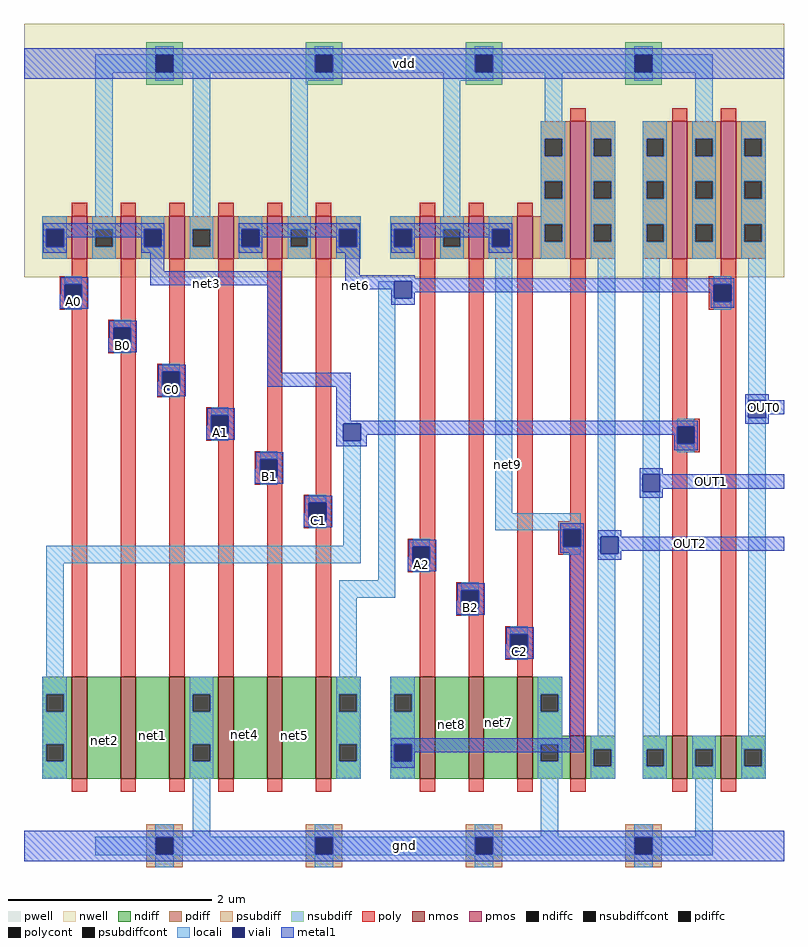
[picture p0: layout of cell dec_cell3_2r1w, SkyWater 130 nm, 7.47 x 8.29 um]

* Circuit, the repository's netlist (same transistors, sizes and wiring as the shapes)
* SPICE3 file created from dec_cell3_2r1w.ext - technology: sky130A


.subckt dec_cell3_2r1w A0 B0 C0 A1 B1 C1 A2 B2 C2 OUT0 OUT1 OUT2 vdd gnd
X0 net3 B0 vdd vdd sky130_fd_pr__pfet_01v8 ad=0 pd=0 as=0 ps=0 w=0.42 l=0.15
X1 OUT2 net9 vdd vdd sky130_fd_pr__pfet_01v8 ad=0 pd=0 as=0 ps=0 w=1.35 l=0.15
X2 gnd C0 net1 gnd sky130_fd_pr__nfet_01v8 ad=0 pd=0 as=0 ps=0 w=1.00 l=0.15
X3 net5 B1 net4 gnd sky130_fd_pr__nfet_01v8 ad=0 pd=0 as=0 ps=0 w=1.00 l=0.15
X4 OUT1 net6 vdd vdd sky130_fd_pr__pfet_01v8 ad=0 pd=0 as=0 ps=0 w=1.35 l=0.15
X5 net7 B2 net8 gnd sky130_fd_pr__nfet_01v8 ad=0 pd=0 as=0 ps=0 w=1.00 l=0.15
X6 vdd C0 net3 vdd sky130_fd_pr__pfet_01v8 ad=0 pd=0 as=0 ps=0 w=0.42 l=0.15
X7 vdd B1 net6 vdd sky130_fd_pr__pfet_01v8 ad=0 pd=0 as=0 ps=0 w=0.42 l=0.15
X8 net9 B2 vdd vdd sky130_fd_pr__pfet_01v8 ad=0 pd=0 as=0 ps=0 w=0.42 l=0.15
X9 net2 A0 net3 gnd sky130_fd_pr__nfet_01v8 ad=0 pd=0 as=0 ps=0 w=1.00 l=0.15
X10 net4 A1 gnd gnd sky130_fd_pr__nfet_01v8 ad=0 pd=0 as=0 ps=0 w=1.00 l=0.15
X11 net6 C1 net5 gnd sky130_fd_pr__nfet_01v8 ad=0 pd=0 as=0 ps=0 w=1.00 l=0.15
X12 gnd C2 net7 gnd sky130_fd_pr__nfet_01v8 ad=0 pd=0 as=0 ps=0 w=1.00 l=0.15
X13 net8 A2 net9 gnd sky130_fd_pr__nfet_01v8 ad=0 pd=0 as=0 ps=0 w=1.00 l=0.15
X14 gnd net3 OUT0 gnd sky130_fd_pr__nfet_01v8 ad=0 pd=0 as=0 ps=0 w=0.42 l=0.15
X15 vdd A0 net3 vdd sky130_fd_pr__pfet_01v8 ad=0 pd=0 as=0 ps=0 w=0.42 l=0.15
X16 net6 A1 vdd vdd sky130_fd_pr__pfet_01v8 ad=0 pd=0 as=0 ps=0 w=0.42 l=0.15
X17 net6 C1 vdd vdd sky130_fd_pr__pfet_01v8 ad=0 pd=0 as=0 ps=0 w=0.42 l=0.15
X18 vdd A2 net9 vdd sky130_fd_pr__pfet_01v8 ad=0 pd=0 as=0 ps=0 w=0.42 l=0.15
X19 vdd C2 net9 vdd sky130_fd_pr__pfet_01v8 ad=0 pd=0 as=0 ps=0 w=0.42 l=0.15
X20 vdd net3 OUT0 vdd sky130_fd_pr__pfet_01v8 ad=0 pd=0 as=0 ps=0 w=1.35 l=0.15
X21 net1 B0 net2 gnd sky130_fd_pr__nfet_01v8 ad=0 pd=0 as=0 ps=0 w=1.00 l=0.15
X22 OUT2 net9 gnd gnd sky130_fd_pr__nfet_01v8 ad=0 pd=0 as=0 ps=0 w=0.42 l=0.15
X23 OUT1 net6 gnd gnd sky130_fd_pr__nfet_01v8 ad=0 pd=0 as=0 ps=0 w=0.42 l=0.15
.ends

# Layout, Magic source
magic
tech sky130A
magscale 1 2
<< nwell >>
rect 0 1118 1494 1616
<< pwell >>
rect 240 -42 312 42
rect 554 -42 626 42
rect 868 -42 940 42
rect 1182 -42 1254 42
<< nmos >>
rect 94 132 124 332
rect 190 132 220 332
rect 286 132 316 332
rect 382 132 412 332
rect 478 132 508 332
rect 574 132 604 332
rect 778 132 808 332
rect 874 132 904 332
rect 970 132 1000 332
rect 1074 132 1104 216
rect 1274 132 1304 216
rect 1370 132 1400 216
<< pmos >>
rect 94 1154 124 1238
rect 190 1154 220 1238
rect 286 1154 316 1238
rect 382 1154 412 1238
rect 478 1154 508 1238
rect 574 1154 604 1238
rect 778 1154 808 1238
rect 874 1154 904 1238
rect 970 1154 1000 1238
rect 1074 1154 1104 1424
rect 1274 1154 1304 1424
rect 1370 1154 1400 1424
<< ndiff >>
rect 36 298 94 332
rect 36 264 44 298
rect 78 264 94 298
rect 36 200 94 264
rect 36 166 44 200
rect 78 166 94 200
rect 36 132 94 166
rect 124 132 190 332
rect 220 132 286 332
rect 316 298 382 332
rect 316 264 332 298
rect 366 264 382 298
rect 316 200 382 264
rect 316 166 332 200
rect 366 166 382 200
rect 316 132 382 166
rect 412 132 478 332
rect 508 132 574 332
rect 604 298 662 332
rect 604 264 620 298
rect 654 264 662 298
rect 604 200 662 264
rect 604 166 620 200
rect 654 166 662 200
rect 604 132 662 166
rect 720 298 778 332
rect 720 264 728 298
rect 762 264 778 298
rect 720 200 778 264
rect 720 166 728 200
rect 762 166 778 200
rect 720 132 778 166
rect 808 132 874 332
rect 904 132 970 332
rect 1000 298 1058 332
rect 1000 264 1016 298
rect 1050 264 1058 298
rect 1000 216 1058 264
rect 1000 200 1074 216
rect 1000 166 1016 200
rect 1050 166 1074 200
rect 1000 132 1074 166
rect 1104 190 1162 216
rect 1104 156 1120 190
rect 1154 156 1162 190
rect 1104 132 1162 156
rect 1216 190 1274 216
rect 1216 156 1224 190
rect 1258 156 1274 190
rect 1216 132 1274 156
rect 1304 190 1370 216
rect 1304 156 1320 190
rect 1354 156 1370 190
rect 1304 132 1370 156
rect 1400 190 1458 216
rect 1400 156 1416 190
rect 1450 156 1458 190
rect 1400 132 1458 156
<< pdiff >>
rect 1016 1390 1074 1424
rect 1016 1356 1024 1390
rect 1058 1356 1074 1390
rect 1016 1306 1074 1356
rect 1016 1272 1024 1306
rect 1058 1272 1074 1306
rect 1016 1238 1074 1272
rect 36 1212 94 1238
rect 36 1178 44 1212
rect 78 1178 94 1212
rect 36 1154 94 1178
rect 124 1212 190 1238
rect 124 1178 140 1212
rect 174 1178 190 1212
rect 124 1154 190 1178
rect 220 1212 286 1238
rect 220 1178 236 1212
rect 270 1178 286 1212
rect 220 1154 286 1178
rect 316 1212 382 1238
rect 316 1178 332 1212
rect 366 1178 382 1212
rect 316 1154 382 1178
rect 412 1212 478 1238
rect 412 1178 428 1212
rect 462 1178 478 1212
rect 412 1154 478 1178
rect 508 1212 574 1238
rect 508 1178 524 1212
rect 558 1178 574 1212
rect 508 1154 574 1178
rect 604 1212 662 1238
rect 604 1178 620 1212
rect 654 1178 662 1212
rect 604 1154 662 1178
rect 720 1212 778 1238
rect 720 1178 728 1212
rect 762 1178 778 1212
rect 720 1154 778 1178
rect 808 1212 874 1238
rect 808 1178 824 1212
rect 858 1178 874 1212
rect 808 1154 874 1178
rect 904 1212 970 1238
rect 904 1178 920 1212
rect 954 1178 970 1212
rect 904 1154 970 1178
rect 1000 1222 1074 1238
rect 1000 1188 1024 1222
rect 1058 1188 1074 1222
rect 1000 1154 1074 1188
rect 1104 1390 1162 1424
rect 1104 1356 1120 1390
rect 1154 1356 1162 1390
rect 1104 1306 1162 1356
rect 1104 1272 1120 1306
rect 1154 1272 1162 1306
rect 1104 1222 1162 1272
rect 1104 1188 1120 1222
rect 1154 1188 1162 1222
rect 1104 1154 1162 1188
rect 1216 1390 1274 1424
rect 1216 1356 1224 1390
rect 1258 1356 1274 1390
rect 1216 1306 1274 1356
rect 1216 1272 1224 1306
rect 1258 1272 1274 1306
rect 1216 1222 1274 1272
rect 1216 1188 1224 1222
rect 1258 1188 1274 1222
rect 1216 1154 1274 1188
rect 1304 1390 1370 1424
rect 1304 1356 1320 1390
rect 1354 1356 1370 1390
rect 1304 1306 1370 1356
rect 1304 1272 1320 1306
rect 1354 1272 1370 1306
rect 1304 1222 1370 1272
rect 1304 1188 1320 1222
rect 1354 1188 1370 1222
rect 1304 1154 1370 1188
rect 1400 1390 1458 1424
rect 1400 1356 1416 1390
rect 1450 1356 1458 1390
rect 1400 1306 1458 1356
rect 1400 1272 1416 1306
rect 1450 1272 1458 1306
rect 1400 1222 1458 1272
rect 1400 1188 1416 1222
rect 1450 1188 1458 1222
rect 1400 1154 1458 1188
<< ndiffc >>
rect 44 264 78 298
rect 44 166 78 200
rect 332 264 366 298
rect 332 166 366 200
rect 620 264 654 298
rect 620 166 654 200
rect 728 264 762 298
rect 728 166 762 200
rect 1016 264 1050 298
rect 1016 166 1050 200
rect 1120 156 1154 190
rect 1224 156 1258 190
rect 1320 156 1354 190
rect 1416 156 1450 190
<< pdiffc >>
rect 1024 1356 1058 1390
rect 1024 1272 1058 1306
rect 44 1178 78 1212
rect 140 1178 174 1212
rect 236 1178 270 1212
rect 332 1178 366 1212
rect 428 1178 462 1212
rect 524 1178 558 1212
rect 620 1178 654 1212
rect 728 1178 762 1212
rect 824 1178 858 1212
rect 920 1178 954 1212
rect 1024 1188 1058 1222
rect 1120 1356 1154 1390
rect 1120 1272 1154 1306
rect 1120 1188 1154 1222
rect 1224 1356 1258 1390
rect 1224 1272 1258 1306
rect 1224 1188 1258 1222
rect 1320 1356 1354 1390
rect 1320 1272 1354 1306
rect 1320 1188 1354 1222
rect 1416 1356 1450 1390
rect 1416 1272 1450 1306
rect 1416 1188 1450 1222
<< psubdiff >>
rect 240 17 312 42
rect 240 -17 259 17
rect 293 -17 312 17
rect 240 -42 312 -17
rect 554 17 626 42
rect 554 -17 573 17
rect 607 -17 626 17
rect 554 -42 626 -17
rect 868 17 940 42
rect 868 -17 887 17
rect 921 -17 940 17
rect 868 -42 940 -17
rect 1182 17 1254 42
rect 1182 -17 1201 17
rect 1235 -17 1254 17
rect 1182 -42 1254 -17
<< nsubdiff >>
rect 240 1555 312 1580
rect 240 1521 259 1555
rect 293 1521 312 1555
rect 240 1496 312 1521
rect 554 1555 626 1580
rect 554 1521 573 1555
rect 607 1521 626 1555
rect 554 1496 626 1521
rect 868 1555 940 1580
rect 868 1521 887 1555
rect 921 1521 940 1555
rect 868 1496 940 1521
rect 1182 1555 1254 1580
rect 1182 1521 1201 1555
rect 1235 1521 1254 1555
rect 1182 1496 1254 1521
<< psubdiffcont >>
rect 259 -17 293 17
rect 573 -17 607 17
rect 887 -17 921 17
rect 1201 -17 1235 17
<< nsubdiffcont >>
rect 259 1521 293 1555
rect 573 1521 607 1555
rect 887 1521 921 1555
rect 1201 1521 1235 1555
<< poly >>
rect 1074 1424 1104 1450
rect 1274 1424 1304 1450
rect 1370 1424 1400 1450
rect 94 1238 124 1264
rect 190 1238 220 1264
rect 286 1238 316 1264
rect 382 1238 412 1264
rect 478 1238 508 1264
rect 574 1238 604 1264
rect 778 1238 808 1264
rect 874 1238 904 1264
rect 970 1238 1000 1264
rect 94 1120 124 1154
rect 70 1104 124 1120
rect 70 1070 80 1104
rect 114 1070 124 1104
rect 70 1054 124 1070
rect 94 332 124 1054
rect 190 1034 220 1154
rect 166 1018 220 1034
rect 166 984 176 1018
rect 210 984 220 1018
rect 166 968 220 984
rect 190 332 220 968
rect 286 948 316 1154
rect 262 932 316 948
rect 262 898 272 932
rect 306 898 316 932
rect 262 882 316 898
rect 286 332 316 882
rect 382 862 412 1154
rect 358 846 412 862
rect 358 812 368 846
rect 402 812 412 846
rect 358 796 412 812
rect 382 332 412 796
rect 478 776 508 1154
rect 454 760 508 776
rect 454 726 464 760
rect 498 726 508 760
rect 454 710 508 726
rect 478 332 508 710
rect 574 690 604 1154
rect 550 674 604 690
rect 550 640 560 674
rect 594 640 604 674
rect 550 624 604 640
rect 574 332 604 624
rect 778 604 808 1154
rect 754 588 808 604
rect 754 554 764 588
rect 798 554 808 588
rect 754 538 808 554
rect 778 332 808 538
rect 874 518 904 1154
rect 850 502 904 518
rect 850 468 860 502
rect 894 468 904 502
rect 850 452 904 468
rect 874 332 904 452
rect 970 432 1000 1154
rect 1074 638 1104 1154
rect 1050 622 1104 638
rect 1050 588 1060 622
rect 1094 588 1104 622
rect 1050 572 1104 588
rect 946 416 1000 432
rect 946 382 956 416
rect 990 382 1000 416
rect 946 366 1000 382
rect 970 332 1000 366
rect 1074 216 1104 572
rect 1274 840 1304 1154
rect 1370 1120 1400 1154
rect 1346 1104 1400 1120
rect 1346 1070 1356 1104
rect 1390 1070 1400 1104
rect 1346 1054 1400 1070
rect 1274 824 1328 840
rect 1274 790 1284 824
rect 1318 790 1328 824
rect 1274 774 1328 790
rect 1274 216 1304 774
rect 1370 216 1400 1054
rect 94 106 124 132
rect 190 106 220 132
rect 286 106 316 132
rect 382 106 412 132
rect 478 106 508 132
rect 574 106 604 132
rect 778 106 808 132
rect 874 106 904 132
rect 970 106 1000 132
rect 1074 106 1104 132
rect 1274 106 1304 132
rect 1370 106 1400 132
<< polycont >>
rect 80 1070 114 1104
rect 176 984 210 1018
rect 272 898 306 932
rect 368 812 402 846
rect 464 726 498 760
rect 560 640 594 674
rect 764 554 798 588
rect 860 468 894 502
rect 1060 588 1094 622
rect 956 382 990 416
rect 1356 1070 1390 1104
rect 1284 790 1318 824
<< locali >>
rect 258 1556 294 1572
rect 572 1556 608 1572
rect 886 1556 922 1572
rect 1200 1556 1236 1572
rect 140 1555 1354 1556
rect 140 1521 259 1555
rect 293 1521 573 1555
rect 607 1521 887 1555
rect 921 1521 1201 1555
rect 1235 1521 1354 1555
rect 140 1520 1354 1521
rect 140 1238 174 1520
rect 258 1504 294 1520
rect 332 1238 366 1520
rect 524 1504 608 1520
rect 824 1504 922 1520
rect 524 1238 558 1504
rect 824 1238 858 1504
rect 1024 1424 1058 1520
rect 1200 1504 1236 1520
rect 1320 1424 1354 1520
rect 1016 1390 1064 1424
rect 1016 1356 1024 1390
rect 1058 1356 1064 1390
rect 1016 1306 1064 1356
rect 1016 1272 1024 1306
rect 1058 1272 1064 1306
rect 36 1212 84 1238
rect 36 1178 44 1212
rect 78 1178 84 1212
rect 36 1154 84 1178
rect 134 1212 180 1238
rect 134 1178 140 1212
rect 174 1178 180 1212
rect 134 1154 180 1178
rect 230 1212 276 1238
rect 230 1178 236 1212
rect 270 1178 276 1212
rect 230 1154 276 1178
rect 326 1212 372 1238
rect 326 1178 332 1212
rect 366 1178 372 1212
rect 326 1154 372 1178
rect 422 1212 468 1238
rect 422 1178 428 1212
rect 462 1178 468 1212
rect 422 1154 468 1178
rect 518 1212 564 1238
rect 518 1178 524 1212
rect 558 1178 564 1212
rect 518 1154 564 1178
rect 614 1212 662 1238
rect 614 1178 620 1212
rect 654 1178 662 1212
rect 614 1154 662 1178
rect 720 1212 768 1238
rect 720 1178 728 1212
rect 762 1178 768 1212
rect 720 1154 768 1178
rect 818 1212 864 1238
rect 818 1178 824 1212
rect 858 1178 864 1212
rect 818 1154 864 1178
rect 914 1212 960 1238
rect 914 1178 920 1212
rect 954 1178 960 1212
rect 914 1154 960 1178
rect 1016 1222 1064 1272
rect 1016 1188 1024 1222
rect 1058 1188 1064 1222
rect 1016 1154 1064 1188
rect 1114 1390 1162 1424
rect 1114 1356 1120 1390
rect 1154 1356 1162 1390
rect 1114 1306 1162 1356
rect 1114 1272 1120 1306
rect 1154 1272 1162 1306
rect 1114 1222 1162 1272
rect 1114 1188 1120 1222
rect 1154 1188 1162 1222
rect 1114 1154 1162 1188
rect 80 1104 114 1120
rect 80 1054 114 1070
rect 696 1076 728 1110
rect 176 1018 210 1034
rect 176 968 210 984
rect 272 932 306 948
rect 272 882 306 898
rect 368 846 402 862
rect 368 796 402 812
rect 464 760 498 776
rect 464 710 498 726
rect 560 674 594 690
rect 560 624 594 640
rect 628 590 662 796
rect 44 556 662 590
rect 44 332 78 556
rect 696 522 730 1076
rect 926 654 960 1154
rect 926 622 1094 654
rect 926 620 1060 622
rect 764 588 798 604
rect 1060 572 1094 588
rect 1128 608 1162 1154
rect 1216 1390 1264 1424
rect 1216 1356 1224 1390
rect 1258 1356 1264 1390
rect 1216 1306 1264 1356
rect 1216 1272 1224 1306
rect 1258 1272 1264 1306
rect 1216 1222 1264 1272
rect 1216 1188 1224 1222
rect 1258 1188 1264 1222
rect 1216 1154 1264 1188
rect 1314 1390 1360 1424
rect 1314 1356 1320 1390
rect 1354 1356 1360 1390
rect 1314 1306 1360 1356
rect 1314 1272 1320 1306
rect 1354 1272 1360 1306
rect 1314 1222 1360 1272
rect 1314 1188 1320 1222
rect 1354 1188 1360 1222
rect 1314 1154 1360 1188
rect 1410 1390 1458 1424
rect 1410 1356 1416 1390
rect 1450 1356 1458 1390
rect 1410 1306 1458 1356
rect 1410 1272 1416 1306
rect 1450 1272 1458 1306
rect 1410 1222 1458 1272
rect 1410 1188 1416 1222
rect 1450 1188 1458 1222
rect 1410 1154 1458 1188
rect 1216 730 1250 1154
rect 1356 1104 1390 1120
rect 1356 1054 1390 1070
rect 1424 876 1458 1154
rect 1284 824 1318 840
rect 1284 774 1318 790
rect 1128 574 1134 608
rect 764 538 798 554
rect 620 488 730 522
rect 860 502 894 518
rect 620 332 654 488
rect 860 452 894 468
rect 956 416 990 432
rect 956 366 990 382
rect 36 298 84 332
rect 36 264 44 298
rect 78 264 84 298
rect 36 200 84 264
rect 36 166 44 200
rect 78 166 84 200
rect 36 132 84 166
rect 326 298 372 332
rect 326 264 332 298
rect 366 264 372 298
rect 326 200 372 264
rect 326 166 332 200
rect 366 166 372 200
rect 326 132 372 166
rect 614 298 662 332
rect 614 264 620 298
rect 654 264 662 298
rect 614 200 662 264
rect 614 166 620 200
rect 654 166 662 200
rect 614 132 662 166
rect 720 298 768 332
rect 720 264 728 298
rect 762 264 768 298
rect 720 200 768 264
rect 720 166 728 200
rect 762 166 768 200
rect 720 132 768 166
rect 1010 298 1058 332
rect 1010 264 1016 298
rect 1050 264 1058 298
rect 1010 200 1058 264
rect 1128 216 1162 574
rect 1010 166 1016 200
rect 1050 166 1058 200
rect 1010 132 1058 166
rect 1114 190 1162 216
rect 1114 156 1120 190
rect 1154 156 1162 190
rect 1114 132 1162 156
rect 1216 216 1250 696
rect 1424 216 1458 842
rect 1216 190 1264 216
rect 1216 156 1224 190
rect 1258 156 1264 190
rect 1216 132 1264 156
rect 1314 190 1360 216
rect 1314 156 1320 190
rect 1354 156 1360 190
rect 1314 132 1360 156
rect 1410 190 1458 216
rect 1410 156 1416 190
rect 1450 156 1458 190
rect 1410 132 1458 156
rect 258 18 294 42
rect 332 18 366 132
rect 572 18 608 42
rect 886 18 922 42
rect 1016 18 1050 132
rect 1200 18 1236 42
rect 1320 18 1354 132
rect 140 17 1354 18
rect 140 -17 259 17
rect 293 -17 573 17
rect 607 -17 887 17
rect 921 -17 1201 17
rect 1235 -17 1354 17
rect 140 -18 1354 -17
rect 258 -42 294 -18
rect 572 -42 608 -18
rect 886 -42 922 -18
rect 1200 -42 1236 -18
<< viali >>
rect 259 1521 293 1555
rect 573 1521 607 1555
rect 887 1521 921 1555
rect 1201 1521 1235 1555
rect 44 1178 78 1212
rect 236 1178 270 1212
rect 428 1178 462 1212
rect 620 1178 654 1212
rect 728 1178 762 1212
rect 920 1178 954 1212
rect 80 1070 114 1104
rect 728 1076 762 1110
rect 176 984 210 1018
rect 272 898 306 932
rect 368 812 402 846
rect 628 796 662 830
rect 464 726 498 760
rect 560 640 594 674
rect 764 554 798 588
rect 1060 588 1094 622
rect 1356 1070 1390 1104
rect 1424 842 1458 876
rect 1284 790 1318 824
rect 1216 696 1250 730
rect 1134 574 1168 608
rect 860 468 894 502
rect 956 382 990 416
rect 728 166 762 200
rect 259 -17 293 17
rect 573 -17 607 17
rect 887 -17 921 17
rect 1201 -17 1235 17
<< metal1 >>
rect 0 1555 1494 1568
rect 0 1521 259 1555
rect 293 1521 573 1555
rect 607 1521 887 1555
rect 921 1521 1201 1555
rect 1235 1521 1494 1555
rect 0 1508 1494 1521
rect 38 1212 276 1224
rect 38 1178 44 1212
rect 78 1196 236 1212
rect 78 1178 84 1196
rect 38 1166 84 1178
rect 230 1178 236 1196
rect 270 1178 276 1212
rect 230 1166 276 1178
rect 422 1212 660 1224
rect 422 1178 428 1212
rect 462 1196 620 1212
rect 462 1178 468 1196
rect 422 1166 468 1178
rect 614 1178 620 1196
rect 654 1178 660 1212
rect 614 1166 660 1178
rect 722 1212 960 1224
rect 722 1178 728 1212
rect 762 1196 920 1212
rect 762 1178 768 1196
rect 722 1166 768 1178
rect 914 1178 920 1196
rect 954 1178 960 1212
rect 914 1166 960 1178
rect 248 1130 276 1166
rect 72 1104 126 1118
rect 72 1084 80 1104
rect 70 1070 80 1084
rect 114 1070 126 1104
rect 248 1102 506 1130
rect 70 1056 126 1070
rect 168 1018 222 1032
rect 168 998 176 1018
rect 166 984 176 998
rect 210 984 222 1018
rect 166 970 222 984
rect 264 932 318 946
rect 264 912 272 932
rect 262 898 272 912
rect 306 898 318 932
rect 478 930 506 1102
rect 632 1122 660 1166
rect 632 1116 768 1122
rect 632 1110 1396 1116
rect 632 1094 728 1110
rect 722 1076 728 1094
rect 762 1104 1396 1110
rect 762 1088 1356 1104
rect 762 1076 768 1088
rect 722 1064 768 1076
rect 1350 1070 1356 1088
rect 1390 1070 1396 1104
rect 1350 1058 1396 1070
rect 478 902 642 930
rect 262 884 318 898
rect 360 846 414 860
rect 360 826 368 846
rect 358 812 368 826
rect 402 812 414 846
rect 358 798 414 812
rect 614 836 642 902
rect 1418 876 1464 888
rect 1418 842 1424 876
rect 1458 848 1494 876
rect 1458 842 1464 848
rect 614 830 1324 836
rect 1418 830 1464 842
rect 614 796 628 830
rect 662 824 1324 830
rect 662 808 1284 824
rect 662 796 674 808
rect 614 786 674 796
rect 1278 790 1284 808
rect 1318 790 1324 824
rect 1278 778 1324 790
rect 456 760 510 774
rect 456 740 464 760
rect 454 726 464 740
rect 498 726 510 760
rect 454 712 510 726
rect 1210 730 1256 742
rect 1210 696 1216 730
rect 1250 702 1494 730
rect 1250 696 1256 702
rect 552 674 606 688
rect 1210 684 1256 696
rect 552 654 560 674
rect 550 640 560 654
rect 594 640 606 674
rect 550 626 606 640
rect 1054 622 1100 634
rect 756 588 810 602
rect 756 568 764 588
rect 754 554 764 568
rect 798 554 810 588
rect 1054 588 1060 622
rect 1094 588 1100 622
rect 1054 576 1100 588
rect 754 540 810 554
rect 852 502 906 516
rect 852 482 860 502
rect 850 468 860 482
rect 894 468 906 502
rect 850 454 906 468
rect 948 416 1002 430
rect 948 396 956 416
rect 946 382 956 396
rect 990 382 1002 416
rect 946 368 1002 382
rect 1072 212 1100 576
rect 1128 608 1174 620
rect 1128 574 1134 608
rect 1168 580 1494 608
rect 1168 574 1174 580
rect 1128 562 1174 574
rect 722 200 1100 212
rect 722 166 728 200
rect 762 184 1100 200
rect 762 166 768 184
rect 722 154 768 166
rect 0 17 1494 30
rect 0 -17 259 17
rect 293 -17 573 17
rect 607 -17 887 17
rect 921 -17 1201 17
rect 1235 -17 1494 17
rect 0 -30 1494 -17
<< labels >>
rlabel locali s 950 750 950 750 4 net9
rlabel metal1 s 652 1102 652 1102 4 net6
rlabel metal1 s 358 1106 358 1106 4 net3
rlabel mvpsubdiff s 434 218 434 218 4 net4
rlabel mvpsubdiff s 532 216 532 216 4 net5
rlabel mvpsubdiff s 252 216 252 216 4 net1
rlabel mvpsubdiff s 158 208 158 208 4 net2
rlabel mvpsubdiff s 932 242 932 242 4 net7
rlabel mvpsubdiff s 840 238 840 238 4 net8
rlabel metal1 s 70 1056 126 1084 4 A0
port 1 nsew
rlabel metal1 s 166 970 222 998 4 B0
port 2 nsew
rlabel metal1 s 262 884 318 912 4 C0
port 3 nsew
rlabel metal1 s 358 798 414 826 4 A1
port 4 nsew
rlabel metal1 s 454 712 510 740 4 B1
port 5 nsew
rlabel metal1 s 550 626 606 654 4 C1
port 6 nsew
rlabel metal1 s 754 540 810 568 4 A2
port 7 nsew
rlabel metal1 s 850 454 906 482 4 B2
port 8 nsew
rlabel metal1 s 946 368 1002 396 4 C2
port 9 nsew
rlabel metal1 s 1128 580 1494 608 4 OUT2
port 10 nsew
rlabel metal1 s 0 1508 1494 1568 4 vdd
port 11 nsew
rlabel metal1 s 0 -30 1494 30 4 gnd
port 12 nsew
rlabel metal1 s 1418 848 1494 876 4 OUT0
port 13 nsew
rlabel metal1 s 1210 702 1494 730 4 OUT1
port 14 nsew
rlabel metal1 s 98 1070 98 1070 4 A0
rlabel metal1 s 194 984 194 984 4 B0
rlabel metal1 s 290 898 290 898 4 C0
rlabel metal1 s 386 812 386 812 4 A1
rlabel metal1 s 482 726 482 726 4 B1
rlabel metal1 s 578 640 578 640 4 C1
rlabel metal1 s 782 554 782 554 4 A2
rlabel metal1 s 878 468 878 468 4 B2
rlabel metal1 s 974 382 974 382 4 C2
rlabel metal1 s 1456 862 1456 862 4 OUT0
rlabel metal1 s 1352 716 1352 716 4 OUT1
rlabel metal1 s 1311 594 1311 594 4 OUT2
rlabel metal1 s 747 1538 747 1538 4 vdd
rlabel metal1 s 747 0 747 0 4 gnd
<< properties >>
string FIXED_BBOX 0 0 1494 1538
string GDS_FILE sram_0rw2r1w_16_128_sky130A.gds
string GDS_END 1842472
string GDS_START 1817894
<< end >>
